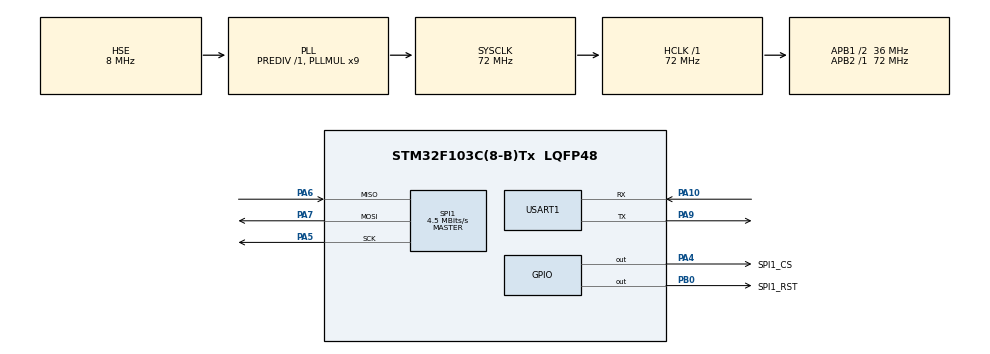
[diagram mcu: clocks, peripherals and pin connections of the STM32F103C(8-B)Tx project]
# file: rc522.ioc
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Mcu.Family=STM32F1
Mcu.Name=STM32F103C(8-B)Tx
Mcu.Package=LQFP48
NVIC.PriorityGroup=NVIC_PRIORITYGROUP_4
NVIC.SPI1_IRQn=true\:0\:0\:false\:false\:true\:true\:true\:true
PA10.Mode=Asynchronous
PA10.Signal=USART1_RX
PA13.Mode=Serial_Wire
PA13.Signal=SYS_JTMS-SWDIO
PA14.Mode=Serial_Wire
PA14.Signal=SYS_JTCK-SWCLK
PA4.GPIO_Label=SPI1_CS
PA4.GPIO_PuPd=GPIO_PULLUP
PA4.GPIO_Speed=GPIO_SPEED_FREQ_HIGH
PA4.PinState=GPIO_PIN_SET
PA4.Signal=GPIO_Output
PA5.Mode=Full_Duplex_Master
PA5.Signal=SPI1_SCK
PA6.Mode=Full_Duplex_Master
PA6.Signal=SPI1_MISO
PA7.Mode=Full_Duplex_Master
PA7.Signal=SPI1_MOSI
PA9.Mode=Asynchronous
PA9.Signal=USART1_TX
PB0.GPIO_Label=SPI1_RST
PB0.GPIO_PuPd=GPIO_PULLUP
PB0.GPIO_Speed=GPIO_SPEED_FREQ_HIGH
PB0.PinState=GPIO_PIN_SET
PB0.Signal=GPIO_Output
PD0-OSC_IN.Mode=HSE-External-Oscillator
PD0-OSC_IN.Signal=RCC_OSC_IN
PD1-OSC_OUT.Mode=HSE-External-Oscillator
PD1-OSC_OUT.Signal=RCC_OSC_OUT
ProjectManager.HeapSize=0x200
ProjectManager.StackSize=0x400
ProjectManager.TargetToolchain=MDK-ARM V5.32
RCC.AHBFreq_Value=72000000
RCC.APB1CLKDivider=RCC_HCLK_DIV2
RCC.APB1Freq_Value=36000000
RCC.APB1TimFreq_Value=72000000
RCC.APB2Freq_Value=72000000
RCC.APB2TimFreq_Value=72000000
RCC.HCLKFreq_Value=72000000
RCC.PLLMUL=RCC_PLL_MUL9
RCC.PLLSourceVirtual=RCC_PLLSOURCE_HSE
RCC.SYSCLKFreq_VALUE=72000000
RCC.SYSCLKSource=RCC_SYSCLKSOURCE_PLLCLK
RCC.USBFreq_Value=72000000
SPI1.BaudRatePrescaler=SPI_BAUDRATEPRESCALER_16
SPI1.CalculateBaudRate=4.5 MBits/s
SPI1.Direction=SPI_DIRECTION_2LINES
SPI1.Mode=SPI_MODE_MASTER
SPI1.VirtualType=VM_MASTER
USART1.VirtualMode=VM_ASYNC
board=custom

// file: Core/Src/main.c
/* USER CODE BEGIN Header */
/**
  ******************************************************************************
  * @file           : main.c
  * @brief          : Main program body
  ******************************************************************************
  * @attention
  *
  * Copyright (c) 2026 STMicroelectronics.
  * All rights reserved.
  *
  * This software is licensed under terms that can be found in the LICENSE file
  * in the root directory of this software component.
  * If no LICENSE file comes with this software, it is provided AS-IS.
  *
  ******************************************************************************
  */
/* USER CODE END Header */
#include "main.h"
#include "spi.h"
#include "usart.h"
#include "gpio.h"

/* USER CODE BEGIN Includes */
#include "RC522.h"
#include "stdio.h"
/* USER CODE END Includes */

void SystemClock_Config(void);

int main(void)
{

  /* USER CODE BEGIN 1 */
		uint8_t g_ucTempbuf[20];
	  uint8_t cardid[4]={0x00,0x00,0x00,0x00};
  /* USER CODE END 1 */

  /* MCU Configuration--------------------------------------------------------*/

  /* Reset of all peripherals, Initializes the Flash interface and the Systick. */
  HAL_Init();

  /* Configure the system clock */
  SystemClock_Config();

  /* Initialize all configured peripherals */
  MX_GPIO_Init();
  MX_SPI1_Init();
  MX_USART1_UART_Init();
  /* USER CODE BEGIN 2 */
			printf("go\r\n");
	PCD_Reset();
  PCD_AntennaOff();
  PCD_AntennaOn();
  /* USER CODE END 2 */

  /* Infinite loop */
  while (1)
  {

    /* USER CODE BEGIN 3 */

		 if(PCD_Request(PICC_REQALL, g_ucTempbuf)!=PCD_OK)
		 {
				PCD_Reset();
				PCD_AntennaOff();
				PCD_AntennaOn();
			  continue;
		 }
		 if(PCD_Anticoll(cardid)==PCD_OK)
		 {
			 printf("���ҵ�%02x%02x%02x%02x\r\n",cardid[0],cardid[1],cardid[2],cardid[3]);
		 }
  }
  /* USER CODE END 3 */
}

void SystemClock_Config(void)
{
  RCC_OscInitTypeDef RCC_OscInitStruct = {0};
  RCC_ClkInitTypeDef RCC_ClkInitStruct = {0};

  /** Initializes the RCC Oscillators according to the specified parameters
  * in the RCC_OscInitTypeDef structure.
  */
  RCC_OscInitStruct.OscillatorType = RCC_OSCILLATORTYPE_HSE;
  RCC_OscInitStruct.HSEState = RCC_HSE_ON;
  RCC_OscInitStruct.HSEPredivValue = RCC_HSE_PREDIV_DIV1;
  RCC_OscInitStruct.HSIState = RCC_HSI_ON;
  RCC_OscInitStruct.PLL.PLLState = RCC_PLL_ON;
  RCC_OscInitStruct.PLL.PLLSource = RCC_PLLSOURCE_HSE;
  RCC_OscInitStruct.PLL.PLLMUL = RCC_PLL_MUL9;
  if (HAL_RCC_OscConfig(&RCC_OscInitStruct) != HAL_OK)
  {
    Error_Handler();
  }

  /** Initializes the CPU, AHB and APB buses clocks
  */
  RCC_ClkInitStruct.ClockType = RCC_CLOCKTYPE_HCLK|RCC_CLOCKTYPE_SYSCLK
                              |RCC_CLOCKTYPE_PCLK1|RCC_CLOCKTYPE_PCLK2;
  RCC_ClkInitStruct.SYSCLKSource = RCC_SYSCLKSOURCE_PLLCLK;
  RCC_ClkInitStruct.AHBCLKDivider = RCC_SYSCLK_DIV1;
  RCC_ClkInitStruct.APB1CLKDivider = RCC_HCLK_DIV2;
  RCC_ClkInitStruct.APB2CLKDivider = RCC_HCLK_DIV1;

  if (HAL_RCC_ClockConfig(&RCC_ClkInitStruct, FLASH_LATENCY_2) != HAL_OK)
  {
    Error_Handler();
  }
}

void Error_Handler(void)
{
  __disable_irq();
  while (1)
  {
  }
}
